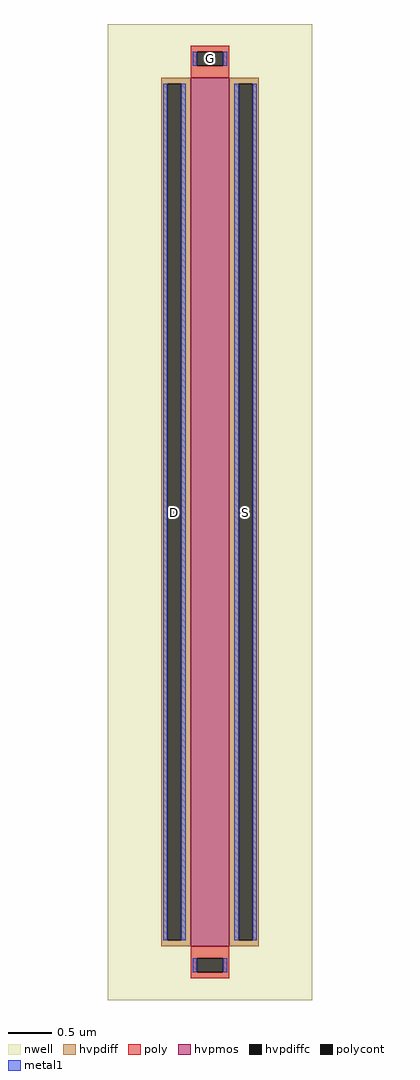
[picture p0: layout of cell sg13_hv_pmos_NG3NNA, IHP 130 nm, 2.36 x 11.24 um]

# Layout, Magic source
magic
tech ihp-sg13cmos5l
<< nwell >>
rect -118 -562 118 562
<< hvpmos >>
rect -22 -500 22 500
<< hvpdiff >>
rect -56 493 -22 500
rect -56 -493 -49 493
rect -33 -493 -22 493
rect -56 -500 -22 -493
rect 22 493 56 500
rect 22 -493 33 493
rect 49 -493 56 493
rect 22 -500 56 -493
<< hvpdiffc >>
rect -49 -493 -33 493
rect 33 -493 49 493
<< poly >>
rect -22 530 22 537
rect -22 514 -15 530
rect 15 514 22 530
rect -22 500 22 514
rect -22 -514 22 -500
rect -22 -530 -15 -514
rect 15 -530 22 -514
rect -22 -537 22 -530
<< polycont >>
rect -15 514 15 530
rect -15 -530 15 -514
<< metal1 >>
rect -20 514 -15 530
rect 15 514 20 530
rect -54 -493 -49 493
rect -33 -493 -28 493
rect 28 -493 33 493
rect 49 -493 54 493
rect -20 -530 -15 -514
rect 15 -530 20 -514
<< labels >>
rlabel hvpdiffc -41 0 -41 0 0 D
port 4 nsew
rlabel hvpdiffc 41 0 41 0 0 S
port 5 nsew
rlabel polycont 0 522 0 522 0 G
port 6 nsew
<< properties >>
string gencell sg13_hv_pmos
string library sg13cmos5l
string parameters w 10.0 l 0.45 m 1 ng 1 diffcov 100 polycov 100 guard 0 glc 1 grc 1 gtc 1 gbc 1 tbcov 100 rlcov 100 topc 1 botc 1 poverlap 0 doverlap 1 lmin 0.4 wmin 0.15 class mosfet compatible {sg13_lv_pmos sg13_hv_pmos} full_metal 1 conn_gates 0 gate_ring 0 ccols 1 viasrc 0 viadrn 0 viagate 0 viagb 0 viagr 0 viagl 0 viagt 0 doports 1
<< end >>
